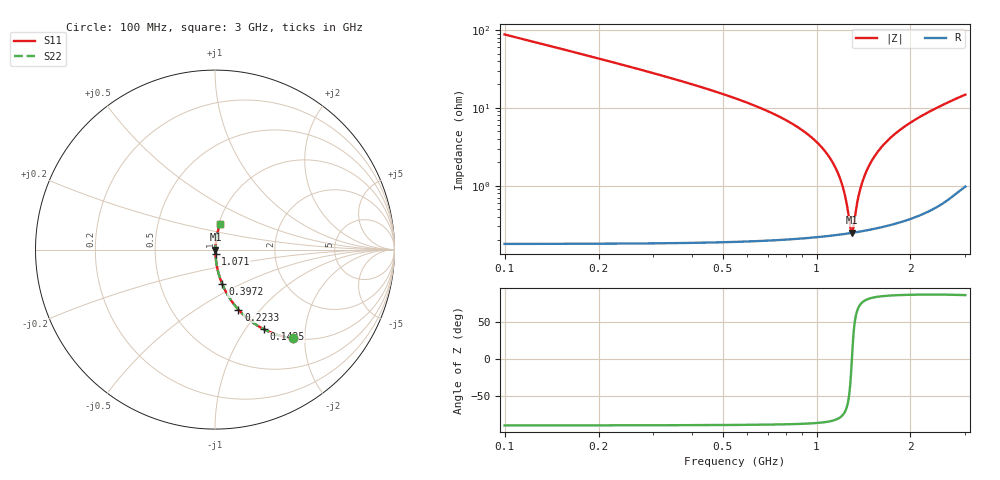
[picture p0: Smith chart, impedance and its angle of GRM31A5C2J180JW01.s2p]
!Murata Part Number: GRM31A5C2J180JW01
!These Parameters are Measured in Series Mode Connection
!Data Generated on Mar 30, 2021
!  o--ll--o
!Port1  Port2
!  o------o
!Operation Temp=25[degC], DC Bias Voltage=0[V]
!Freq. Start=100[MHz] Stop=3[GHz] 401[Steps]
# Hz S RI R 50
!Freq.(Hz) S11(Real) S11(Imag) S21(Real) S21(Imag) S12(Real) S12(Imag) S22(Real) S22(Imag)
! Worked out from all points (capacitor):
!   401 points, 100 MHz to 3 GHz, reference 50 ohm
!   read as one part in series: C = 18 pF near 114.5 MHz
!   lowest |Z| = 248 mohm at 1.296 GHz (marker M1)
!   series resonance near 1.298 GHz, so ESL is about 840 pH
!   S11 on the Smith chart (normalised r, x): 100 MHz: 1.00, -1.76; 143.5 MHz: 1.00, -1.22; 223.2 MHz: 1.00, -0.77; 397.2 MHz: 1.00, -0.40; 1.071 GHz: 1.00, -0.05; 3 GHz: 1.02, +0.30
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1e8  0.436 -0.4949  0.564 0.4949  0.564 0.4949  0.436 -0.4949
1.435e8  0.271 -0.443  0.729 0.443  0.729 0.443  0.271 -0.443
1.7975e8  0.1899 -0.3903  0.8101 0.3903  0.8101 0.3903  0.1899 -0.3903
2.2325e8  0.13 -0.334  0.87 0.334  0.87 0.334  0.13 -0.334
3.9725e8  0.0409 -0.1936  0.9591 0.1936  0.9591 0.1936  0.0409 -0.1936
5.8575e8  0.0162 -0.1186  0.9838 0.1186  0.9838 0.1186  0.0162 -0.1186
8.9025e8  0.00489 -0.0528  0.9951 0.0528  0.9951 0.0528  0.00489 -0.0528
1.0715e9  0.00294 -0.0266  0.9971 0.0266  0.9971 0.0266  0.00294 -0.0266
1.144e9  0.00261 -0.0175  0.9974 0.0175  0.9974 0.0175  0.00261 -0.0175
1.202e9  0.00247 -0.0106  0.9975 0.0106  0.9975 0.0106  0.00247 -0.0106
1.23825e9  0.00244 -0.00653  0.9976 0.00653  0.9976 0.00653  0.00244 -0.00653
1.28175e9  0.00245 -0.00174  0.9975 0.00174  0.9975 0.00174  0.00245 -0.00174
1.29625e9  0.00246 -0.00018  0.9975 0.00018  0.9975 0.00018  0.00246 -0.00018
1.31075e9  0.00248 0.00137  0.9975 -0.00137  0.9975 -0.00137  0.00248 0.00137
1.3615e9  0.00259 0.00666  0.9974 -0.00666  0.9974 -0.00666  0.00259 0.00666
1.405e9  0.00272 0.0111  0.9973 -0.0111  0.9973 -0.0111  0.00272 0.0111
1.47025e9  0.003 0.0175  0.997 -0.0175  0.997 -0.0175  0.003 0.0175
1.55e9  0.00344 0.025  0.9966 -0.025  0.9966 -0.025  0.00344 0.025
1.74575e9  0.00497 0.0425  0.995 -0.0425  0.995 -0.0425  0.00497 0.0425
2.03575e9  0.00831 0.0668  0.9917 -0.0668  0.9917 -0.0668  0.00831 0.0668
2.5215e9  0.017 0.1053  0.983 -0.1053  0.983 -0.1053  0.017 0.1053
3e9  0.0304 0.142  0.9696 -0.142  0.9696 -0.142  0.0304 0.142
